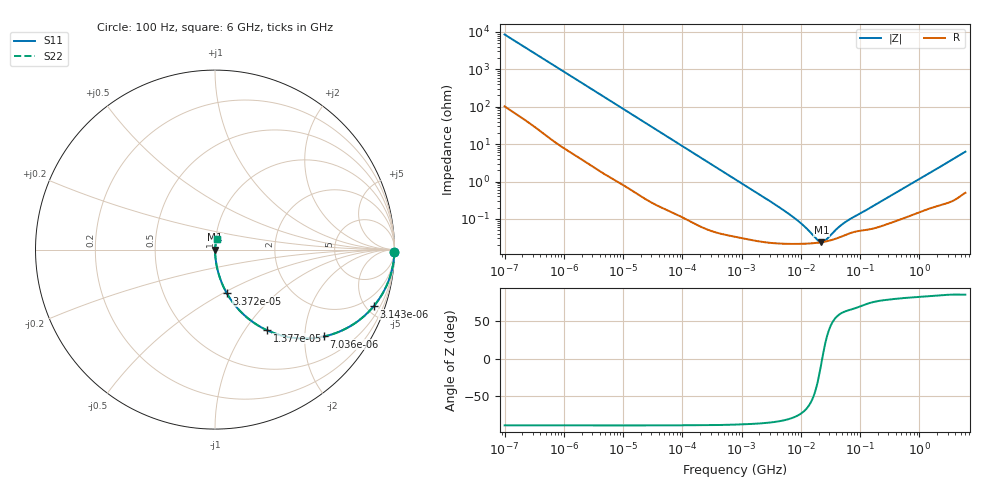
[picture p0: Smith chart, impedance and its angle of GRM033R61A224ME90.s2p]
!Murata Part Number: GRM033R61A224ME90
!These Parameters are Measured in Series Mode Connection
!Data Generated on Mar 30, 2021
!  o--ll--o
!Port1  Port2
!  o------o
!Operation Temp=25[degC], DC Bias Voltage=0[V]
!Freq. Start=100[Hz] Stop=6[GHz] 401[Steps]
# Hz S RI R 50
!Freq.(Hz) S11(Real) S11(Imag) S21(Real) S21(Imag) S12(Real) S12(Imag) S22(Real) S22(Imag)
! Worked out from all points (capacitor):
!   401 points, 100 Hz to 6 GHz, reference 50 ohm
!   read as one part in series: C = 186 nF near 109 Hz
!   lowest |Z| = 23.9 mohm at 22.26 MHz (marker M1)
!   series resonance near 22.99 MHz, so ESL is about 260 pH
!   S11 on the Smith chart (normalised r, x): 100 Hz: open; 3.143 kHz: 1.05, -5.56; 7.036 kHz: 1.02, -2.49; 13.77 kHz: 1.01, -1.28; 33.72 kHz: 1.00, -0.52; 6 GHz: 1.01, +0.13
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100  0.9997 -0.0117  0.000277 0.0117  0.000277 0.0117  0.9997 -0.0117
600  0.9946 -0.0688  0.00541 0.0688  0.00541 0.0688  0.9946 -0.0688
2008  0.9479 -0.2179  0.0521 0.2179  0.0521 0.2179  0.9479 -0.2179
3143  0.8834 -0.3166  0.1166 0.3166  0.1166 0.3166  0.8834 -0.3166
4702  0.7743 -0.4137  0.2257 0.4137  0.2257 0.4137  0.7743 -0.4137
7036  0.6079 -0.4838  0.3921 0.4838  0.3921 0.4838  0.6079 -0.4838
13772  0.2922 -0.4502  0.7078 0.4502  0.7078 0.4502  0.2922 -0.4502
21550  0.1461 -0.3487  0.8539 0.3487  0.8539 0.3487  0.1461 -0.3487
33721  0.0665 -0.2444  0.9335 0.2444  0.9335 0.2444  0.0665 -0.2444
40335  0.0479 -0.2087  0.9521 0.2087  0.9521 0.2087  0.0479 -0.2087
129199  0.00563 -0.0687  0.9944 0.0687  0.9944 0.0687  0.00563 -0.0687
774597  0.000468 -0.0116  0.9995 0.0116  0.9995 0.0116  0.000468 -0.0116
6353432  0.000217 -0.00133  0.9998 0.00133  0.9998 0.00133  0.000217 -0.00133
1.039699e7  0.000216 -0.000697  0.9998 0.000697  0.9998 0.000697  0.000216 -0.000697
1.555665e7  0.000223 -0.000316  0.9998 0.000316  0.9998 0.000316  0.000223 -0.000316
1.946e7  0.000231 -0.000132  0.9998 0.000132  0.9998 0.000132  0.000231 -0.000132
2.225763e7  0.000237 -2.52e-05  0.9998 2.52e-05  0.9998 2.52e-05  0.000237 -2.52e-05
2.662322e7  0.00025 0.000115  0.9998 -0.000115  0.9998 -0.000115  0.00025 0.000115
4.165952e7  0.000307 0.000474  0.9997 -0.000474  0.9997 -0.000474  0.000307 0.000474
5.960426e7  0.000384 0.000782  0.9996 -0.000782  0.9996 -0.000782  0.000384 0.000782
3.124326e8  0.000772 0.00391  0.9992 -0.00391  0.9992 -0.00391  0.000772 0.00391
6e9  0.00881 0.0618  0.9912 -0.0618  0.9912 -0.0618  0.00881 0.0618
